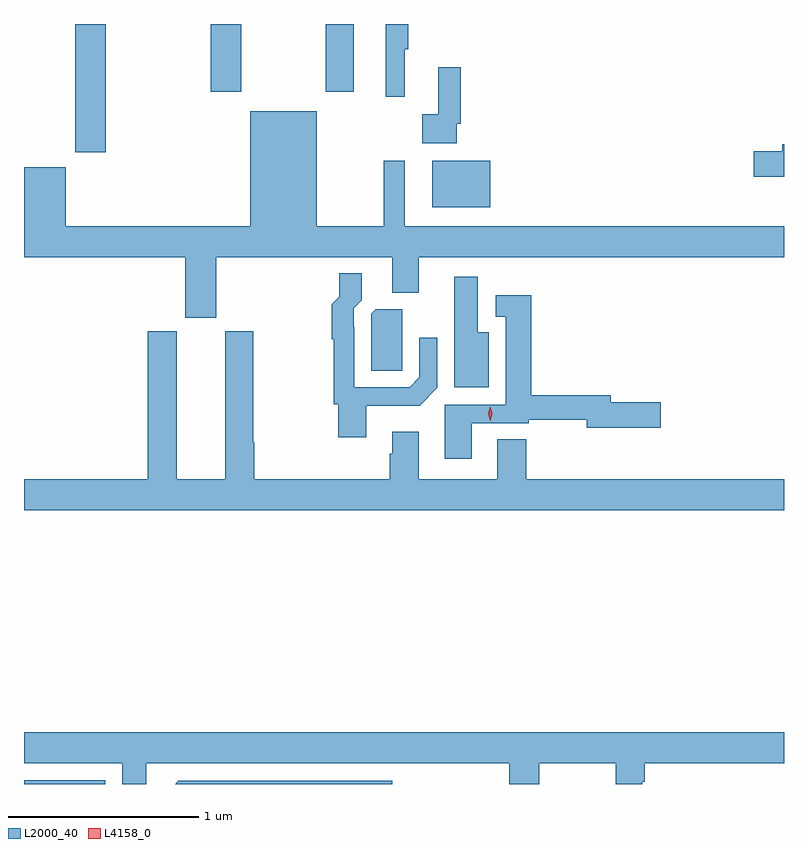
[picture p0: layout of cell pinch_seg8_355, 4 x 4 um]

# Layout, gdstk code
import gdstk
lib = gdstk.Library(unit=1e-6, precision=1e-09)
def R(c, l, rs):  # rectangles x0, y0, x1, y1
    for r in rs: c.add(gdstk.rectangle(r[:2], r[2:], *l))
def P(c, l, *ps):  # polygons
    for p in ps: c.add(gdstk.Polygon(p, *l))
L2000_40 = (2000, 40)
L4158_0 = (4158, 0)

pinch_seg8_355 = lib.new_cell('pinch_seg8_355')
R(pinch_seg8_355, L2000_40, [(417.905,1101.74,418.332,1101.759), (420.053,1104.776,420.358,1105.021), (418.174,1105.065,418.334,1105.74), (418.889,1105.383,419.049,1105.74), (419.494,1105.383,419.641,1105.74)])
P(pinch_seg8_355, L2000_40, [(419.909,1105.608),(419.927,1105.608),(419.927,1105.74),(419.81,1105.74),(419.81,1105.356),(419.909,1105.356)],
  [(420.183,1105.216),(420.203,1105.216),(420.203,1105.513),(420.086,1105.513),(420.086,1105.265),(420,1105.265),(420,1105.112),(420.183,1105.112)],
  [(418.918,1104.512),(419.843,1104.512),(419.843,1104.325),(419.983,1104.325),(419.983,1104.512),(421.905,1104.512),(421.905,1104.676),(419.908,1104.676),(419.908,1105.021),(419.799,1105.021),(419.799,1104.676),(419.446,1104.676),(419.446,1105.282),(419.096,1105.282),(419.096,1104.676),(418.126,1104.676),(418.126,1104.985),(417.905,1104.985),(417.905,1104.512),(418.754,1104.512),(418.754,1104.195),(418.918,1104.195)],
  [(421.905,1105.106),(421.895,1105.106),(421.895,1105.07),(421.746,1105.07),(421.746,1104.935),(421.905,1104.935)],
  [(419.707,1103.732),(419.987,1103.732),(420.081,1103.826),(420.081,1104.088),(419.985,1104.088),(419.985,1103.88),(419.934,1103.829),(419.643,1103.829),(419.643,1104.143),(419.64,1104.143),(419.64,1104.243),(419.683,1104.286),(419.683,1104.427),(419.563,1104.427),(419.563,1104.304),(419.525,1104.266),(419.525,1104.082),(419.535,1104.082),(419.535,1103.739),(419.56,1103.739),(419.56,1103.565),(419.707,1103.565)],
  [(420.352,1104.118),(420.292,1104.118),(420.292,1104.409),(420.17,1104.409),(420.17,1103.828),(420.352,1103.828)],
  [(420.262,1103.64),(420.562,1103.64),(420.562,1103.658),(420.866,1103.658),(420.866,1103.615),(421.255,1103.615),(421.255,1103.75),(420.994,1103.75),(420.994,1103.786),(420.575,1103.786),(420.575,1104.313),(420.387,1104.313),(420.387,1104.2),(420.44,1104.2),(420.44,1103.736),(420.119,1103.736),(420.119,1103.451),(420.262,1103.451)],
  [(419.895,1104.025),(419.896,1104.025),(419.896,1104.24),(419.757,1104.24),(419.733,1104.216),(419.733,1103.914),(419.895,1103.914)],
  [(421.905,1103.344),(420.548,1103.344),(420.548,1103.555),(420.395,1103.555),(420.395,1103.344),(419.983,1103.344),(419.983,1103.593),(419.843,1103.593),(419.843,1103.477),(419.831,1103.477),(419.831,1103.344),(419.117,1103.344),(419.117,1103.54),(419.112,1103.54),(419.112,1104.123),(418.964,1104.123),(418.964,1103.344),(418.708,1103.344),(418.708,1104.123),(418.556,1104.123),(418.556,1103.344),(417.905,1103.344),(417.905,1103.18),(421.905,1103.18)],
  [(418.548,1101.848),(420.458,1101.848),(420.458,1101.74),(420.618,1101.74),(420.618,1101.848),(421.019,1101.848),(421.019,1101.74),(421.159,1101.74),(421.159,1101.752),(421.172,1101.752),(421.172,1101.848),(421.905,1101.848),(421.905,1102.012),(417.905,1102.012),(417.905,1101.848),(418.421,1101.848),(418.421,1101.74),(418.548,1101.74)],
  [(419.843,1101.756),(418.716,1101.756),(418.7,1101.74),(419.843,1101.74)])
P(pinch_seg8_355, L4158_0, [(420.359,1103.653),(420.359,1103.653),(420.349,1103.689),(420.359,1103.725),(420.359,1103.725),(420.36,1103.725),(420.369,1103.689),(420.36,1103.653)])

lib.write_gds('pinch_seg8_355.gds')
